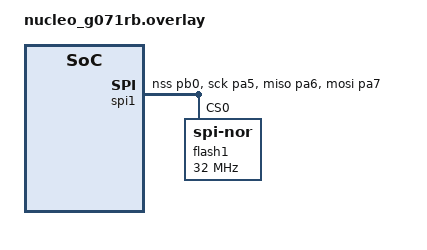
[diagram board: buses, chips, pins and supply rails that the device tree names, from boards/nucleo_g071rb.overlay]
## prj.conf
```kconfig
# To make the app run from SRAM instead of flash use CONFIG_XIP=n
CONFIG_XIP=n

# Dependencies for pyocdprog
CONFIG_FLASH=y
CONFIG_FLASH_JESD216_API=y
CONFIG_SPI_NOR_SFDP_RUNTIME=y
CONFIG_SPI_NOR_FLASH_LAYOUT_PAGE_SIZE=4096
CONFIG_CRC=y

# Enable pyocdprog library
CONFIG_PYOCDPROG=y

# Enable pyocdprog entry point
CONFIG_PYOCDPROG_MAIN=y

# Debugging options
CONFIG_OUTPUT_DISASSEMBLY=y
CONFIG_DEBUG_OPTIMIZATIONS=y
CONFIG_DEBUG_INFO=y
CONFIG_ASSERT=y
CONFIG_LOG=y
CONFIG_PYOCDPROG_LOG_LEVEL_DBG=y
#CONFIG_SHELL=y
#CONFIG_REBOOT=y
#CONFIG_PYOCDPROG_SHELL=y
CONFIG_MAIN_STACK_SIZE=2048
CONFIG_SHELL_STACK_SIZE=4096

# Size optimizations
# CONFIG_SIZE_OPTIMIZATIONS_AGGRESSIVE=y
# CONFIG_BOOT_BANNER=n
# CONFIG_PRINTK=n
# CONFIG_CONSOLE=n
# CONFIG_UART_CONSOLE=n
# CONFIG_LOG=n
# CONFIG_SERIAL=n
# CONFIG_ARM_MPU=n
# CONFIG_HW_STACK_PROTECTION=n
```

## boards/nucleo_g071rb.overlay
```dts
/*
 * Copyright (c) 2025 Tenstorrent AI ULC
 *
 * SPDX-License-Identifier: Apache-2.0
 */

/*
 * west build -p auto -b nucleo_g071rb samples/drivers/jesd216/
 * west flash -r openocd --cmd-pre-init "adapter serial 066AFF30304B4E3043034938"
 */

&spi1 {
	pinctrl-0 = <&spi1_nss_pb0 &spi1_sck_pa5
			 &spi1_miso_pa6 &spi1_mosi_pa7>;
	pinctrl-names = "default";
	status = "okay";

	flash1: flash@0 {
		/* base properties */
		compatible = "jedec,spi-nor";
		status = "okay";

		/* spi-device properties */
		reg = <0>;
		spi-max-frequency = <31999999>;
		spi-cpol;
		spi-cpha;
	};
};
```

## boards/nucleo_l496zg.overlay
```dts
/*
 * Copyright (c) 2025 Tenstorrent AI ULC
 *
 * SPDX-License-Identifier: Apache-2.0
 */

/*
 * west build -p auto -b nucleo_l496zg app/bmc_recovery
 * west attach -r openocd --cmd-pre-init "adapter serial 0671FF495177514867242707"
 */

&wwdg {
        status = "disabled";
};

&spi1 {
        pinctrl-0 = <&spi1_nss_pb0 &spi1_sck_pa5
                         &spi1_miso_pa6 &spi1_mosi_pa7>;
        pinctrl-names = "default";
        status = "okay";

        cs-gpios = <&gpiob 0 GPIO_ACTIVE_LOW>;

        flash1: flash@0 {
                /* base properties */
                compatible = "jedec,spi-nor";
                status = "okay";

                /* spi-device properties */
                reg = <0>;
                spi-max-frequency = <31999999>;
                spi-cpol;
                spi-cpha;
        };
};
```

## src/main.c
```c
/*
 * Copyright (c) 2024 Tenstorrent AI ULC
 *
 * SPDX-License-Identifier: Apache-2.0
 */

#include <stdint.h>

#include <pyocdprog/pyocdprog.h>
#include <zephyr/kernel.h>
#include <zephyr/sys/util.h>

int main()
{
	if (IS_ENABLED(CONFIG_PYOCDPROG_MAIN)) {
		return pyocdprog_main();
	}

	return 0;
}
```
